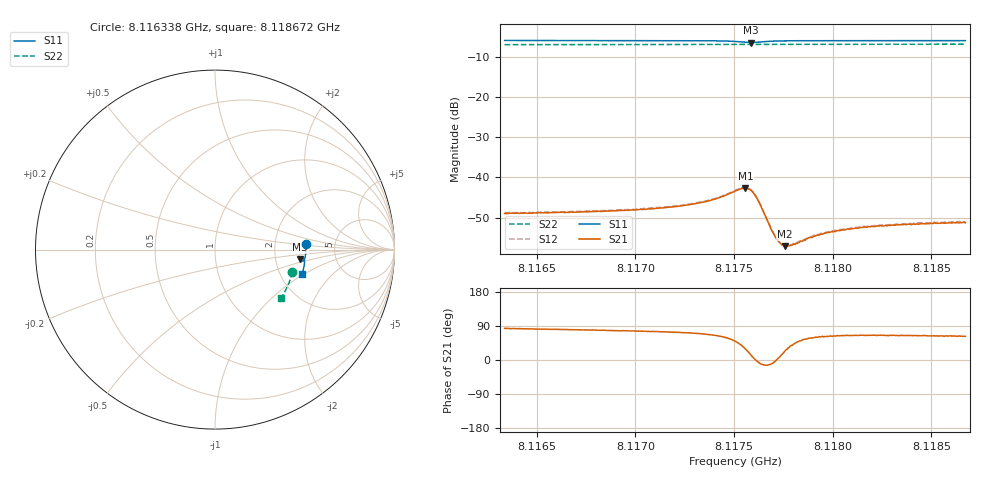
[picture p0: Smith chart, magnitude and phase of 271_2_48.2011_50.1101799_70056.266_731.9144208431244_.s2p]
#  HZ  S  RI  R  50.00
! Rohde & Schwarz Vector Network Analyzer
! Rohde-Schwarz,ZNB20-2Port,1311601062101988,3.16
! Created: UTC 3/20/2024, 11:48:10 AM
! freq[Hz]  re:S11  im:S11  re:S21  im:S21  re:S12  im:S12  re:S22  im:S22
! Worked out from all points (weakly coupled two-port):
!   401 points, 8.116338 GHz to 8.118672 GHz, reference 50 ohm
!   highest |S21| = -42.64 dB at 8.117557 GHz (marker M1); lowest = -57.1 dB at 8.117756 GHz (marker M2)
!   lowest |S11| = -6.4 dB at 8.117587 GHz (marker M3), VSWR 2.83, Z = 138 - j19.4 ohm
!   |S11| at or under -10 dB: nowhere
!   |S22| runs from -7.0 to -6.8 dB; largest |S21 - S12| = 0.0002
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8.1163378e9  0.5058 0.0331  0.000398 0.00354  0.000483 0.00359  0.4316 -0.1246
8.1167288e9  0.5065 0.00335  0.000704 0.00366  0.000712 0.00373  0.4245 -0.1507
8.1169972e9  0.5055 -0.0175  0.000946 0.00383  0.000958 0.00386  0.4184 -0.1685
8.1171198e9  0.5046 -0.0273  0.00108 0.004  0.00116 0.00406  0.4156 -0.1765
8.1172482e9  0.5032 -0.0382  0.00139 0.00429  0.00144 0.0043  0.4122 -0.185
8.1173532e9  0.5009 -0.0479  0.00184 0.00464  0.00192 0.00467  0.4093 -0.1918
8.1174232e9  0.4977 -0.0552  0.0025 0.00497  0.00258 0.00507  0.4072 -0.1963
8.1175049e9  0.4889 -0.0633  0.00436 0.00518  0.00449 0.00524  0.4046 -0.2015
8.1175575e9  0.478 -0.0615  0.00645 0.0036  0.00659 0.00359  0.4027 -0.2045
8.1175866e9  0.4751 -0.054  0.00672 0.00147  0.00683 0.00142  0.4019 -0.2059
8.1176041e9  0.4768 -0.0495  0.0061 0.000285  0.00622 0.000207  0.4014 -0.2067
8.1176216e9  0.4805 -0.0465  0.00515 -0.000496  0.00524 -0.000586  0.4012 -0.2078
8.1176917e9  0.4938 -0.0503  0.00214 -0.000359  0.00221 -0.000375  0.3999 -0.2124
8.117715e9  0.4956 -0.0534  0.00172 6.75e-06  0.00178 -4.49e-05  0.399 -0.2138
8.1177325e9  0.4969 -0.0556  0.00151 0.000231  0.00151 0.00025  0.3985 -0.2148
8.1177559e9  0.4977 -0.0584  0.00129 0.000529  0.00133 0.000534  0.398 -0.2164
8.1177792e9  0.4982 -0.0612  0.00118 0.000775  0.00119 0.000772  0.3972 -0.2178
8.1178959e9  0.4987 -0.0732  0.000932 0.00153  0.000987 0.00157  0.3937 -0.2255
8.117966e9  0.4982 -0.0793  0.000963 0.00179  0.00095 0.00186  0.3913 -0.2298
8.118071e9  0.4969 -0.0882  0.000949 0.00205  0.001 0.00208  0.3878 -0.2363
8.1182869e9  0.4937 -0.105  0.00107 0.00229  0.00112 0.00232  0.3802 -0.2496
8.1186721e9  0.4866 -0.1336  0.00126 0.00242  0.0013 0.00247  0.3656 -0.2723
